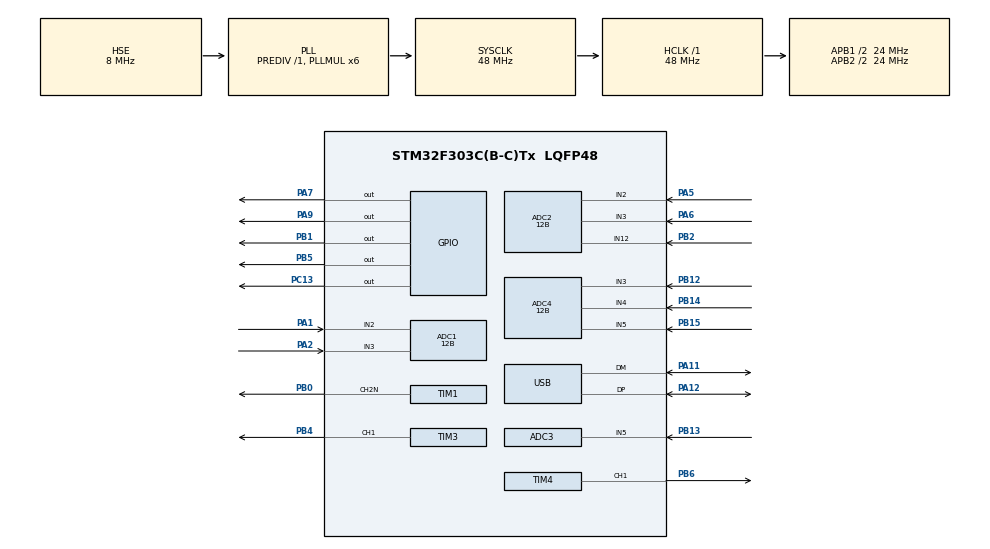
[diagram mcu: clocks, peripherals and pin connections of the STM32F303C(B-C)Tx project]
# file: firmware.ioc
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ADC1.Channel-0\#ChannelRegularConversion=ADC_CHANNEL_2
ADC1.Channel-1\#ChannelRegularConversion=ADC_CHANNEL_3
ADC1.Channel-2\#ChannelRegularConversion=ADC_CHANNEL_VREFINT
ADC1.ClockPrescaler=ADC_CLOCK_ASYNC_DIV1
ADC1.ContinuousConvMode=ENABLE
ADC1.DMAContinuousRequests=DISABLE
ADC1.DataAlign=ADC_DATAALIGN_RIGHT
ADC1.DiscontinuousConvMode=DISABLE
ADC1.EOCSelection=ADC_EOC_SINGLE_CONV
ADC1.EnableAnalogWatchDog1=false
ADC1.EnableAnalogWatchDog2=false
ADC1.EnableAnalogWatchDog3=false
ADC1.EnableInjectedConversion=ENABLE
ADC1.EnableRegularConversion=ENABLE
ADC1.ExternalTrigConv=ADC_SOFTWARE_START
ADC1.ExternalTrigConvEdge=ADC_EXTERNALTRIGCONVEDGE_NONE
ADC1.InjNumberOfConversion=0
ADC1.LowPowerAutoWait=DISABLE
ADC1.Mode=ADC_MODE_INDEPENDENT
ADC1.NbrOfConversion=3
ADC1.Offset-0\#ChannelRegularConversion=0
ADC1.Offset-1\#ChannelRegularConversion=0
ADC1.Offset-2\#ChannelRegularConversion=0
ADC1.OffsetNumber-0\#ChannelRegularConversion=ADC_OFFSET_NONE
ADC1.OffsetNumber-1\#ChannelRegularConversion=ADC_OFFSET_NONE
ADC1.OffsetNumber-2\#ChannelRegularConversion=ADC_OFFSET_NONE
ADC1.Overrun=ADC_OVR_DATA_OVERWRITTEN
ADC1.Rank-0\#ChannelRegularConversion=1
ADC1.Rank-1\#ChannelRegularConversion=2
ADC1.Rank-2\#ChannelRegularConversion=3
ADC1.Resolution=ADC_RESOLUTION_12B
ADC1.SamplingTime-0\#ChannelRegularConversion=ADC_SAMPLETIME_181CYCLES_5
ADC1.SamplingTime-1\#ChannelRegularConversion=ADC_SAMPLETIME_181CYCLES_5
ADC1.SamplingTime-2\#ChannelRegularConversion=ADC_SAMPLETIME_181CYCLES_5
ADC1.SamplingTimeOPAMP=ADC_SAMPLETIME_19CYCLES_5
ADC1.ScanConvMode=ADC_SCAN_ENABLE
ADC1.SequencerNbRanks=1
ADC1.master=1
ADC2.Channel-0\#ChannelRegularConversion=ADC_CHANNEL_2
ADC2.Channel-1\#ChannelRegularConversion=ADC_CHANNEL_3
ADC2.Channel-2\#ChannelRegularConversion=ADC_CHANNEL_12
ADC2.Channel-IN12=ADC_CHANNEL_12
ADC2.Channel-IN2=ADC_CHANNEL_2
ADC2.Channel-IN3=ADC_CHANNEL_3
ADC2.ClockPrescaler=ADC_CLOCK_ASYNC_DIV1
ADC2.ContinuousConvMode=ENABLE
ADC2.DMAContinuousRequests=DISABLE
ADC2.DataAlign=ADC_DATAALIGN_RIGHT
ADC2.DiscontinuousConvMode=DISABLE
ADC2.EOCSelection=ADC_EOC_SINGLE_CONV
ADC2.EnableAnalogWatchDog1=false
ADC2.EnableAnalogWatchDog2=false
ADC2.EnableAnalogWatchDog3=false
ADC2.EnableInjectedConversion=ENABLE
ADC2.EnableRegularConversion=ENABLE
ADC2.ExternalTrigConv=ADC_SOFTWARE_START
ADC2.ExternalTrigConvEdge=ADC_EXTERNALTRIGCONVEDGE_NONE
ADC2.InjNumberOfConversion=0
ADC2.LowPowerAutoWait=DISABLE
ADC2.Mode=ADC_MODE_INDEPENDENT
ADC2.NbrOfConversion=3
ADC2.Offset-0\#ChannelRegularConversion=0
ADC2.Offset-1\#ChannelRegularConversion=0
ADC2.Offset-2\#ChannelRegularConversion=0
ADC2.OffsetNumber-0\#ChannelRegularConversion=ADC_OFFSET_NONE
ADC2.OffsetNumber-1\#ChannelRegularConversion=ADC_OFFSET_NONE
ADC2.OffsetNumber-2\#ChannelRegularConversion=ADC_OFFSET_NONE
ADC2.Overrun=ADC_OVR_DATA_OVERWRITTEN
ADC2.Rank-0\#ChannelRegularConversion=1
ADC2.Rank-1\#ChannelRegularConversion=2
ADC2.Rank-2\#ChannelRegularConversion=3
ADC2.Resolution=ADC_RESOLUTION_12B
ADC2.SamplingTime-0\#ChannelRegularConversion=ADC_SAMPLETIME_181CYCLES_5
ADC2.SamplingTime-1\#ChannelRegularConversion=ADC_SAMPLETIME_181CYCLES_5
ADC2.SamplingTime-2\#ChannelRegularConversion=ADC_SAMPLETIME_181CYCLES_5
ADC2.SamplingTimeOPAMP=ADC_SAMPLETIME_19CYCLES_5
ADC2.ScanConvMode=ADC_SCAN_ENABLE
ADC2.SequencerNbRanks=1
ADC3.Channel-0\#ChannelRegularConversion=ADC_CHANNEL_5
ADC3.Channel-IN5=ADC_CHANNEL_5
ADC3.ClockPrescaler=ADC_CLOCK_ASYNC_DIV1
ADC3.ContinuousConvMode=ENABLE
ADC3.DMAContinuousRequests=DISABLE
ADC3.DataAlign=ADC_DATAALIGN_RIGHT
ADC3.DiscontinuousConvMode=DISABLE
ADC3.EOCSelection=ADC_EOC_SINGLE_CONV
ADC3.EnableAnalogWatchDog1=false
ADC3.EnableAnalogWatchDog2=false
ADC3.EnableAnalogWatchDog3=false
ADC3.EnableInjectedConversion=ENABLE
ADC3.EnableRegularConversion=ENABLE
ADC3.ExternalTrigConv=ADC_SOFTWARE_START
ADC3.ExternalTrigConvEdge=ADC_EXTERNALTRIGCONVEDGE_NONE
ADC3.InjNumberOfConversion=0
ADC3.LowPowerAutoWait=DISABLE
ADC3.Mode=ADC_MODE_INDEPENDENT
ADC3.NbrOfConversion=1
ADC3.Offset-0\#ChannelRegularConversion=0
ADC3.OffsetNumber-0\#ChannelRegularConversion=ADC_OFFSET_NONE
ADC3.Overrun=ADC_OVR_DATA_OVERWRITTEN
ADC3.Rank-0\#ChannelRegularConversion=1
ADC3.Resolution=ADC_RESOLUTION_12B
ADC3.SamplingTime-0\#ChannelRegularConversion=ADC_SAMPLETIME_181CYCLES_5
ADC3.SamplingTimeOPAMP=ADC_SAMPLETIME_19CYCLES_5
ADC3.ScanConvMode=ADC_SCAN_DISABLE
ADC3.SequencerNbRanks=1
ADC3.master=1
ADC4.Channel-0\#ChannelRegularConversion=ADC_CHANNEL_3
ADC4.Channel-3\#ChannelRegularConversion=ADC_CHANNEL_4
ADC4.Channel-4\#ChannelRegularConversion=ADC_CHANNEL_5
ADC4.Channel-IN3=ADC_CHANNEL_3
ADC4.Channel-IN4=ADC_CHANNEL_4
ADC4.Channel-IN5=ADC_CHANNEL_5
ADC4.ClockPrescaler=ADC_CLOCK_ASYNC_DIV1
ADC4.ContinuousConvMode=ENABLE
ADC4.DMAContinuousRequests=DISABLE
ADC4.DataAlign=ADC_DATAALIGN_RIGHT
ADC4.DiscontinuousConvMode=DISABLE
ADC4.EOCSelection=ADC_EOC_SINGLE_CONV
ADC4.EnableAnalogWatchDog1=false
ADC4.EnableAnalogWatchDog2=false
ADC4.EnableAnalogWatchDog3=false
ADC4.EnableInjectedConversion=ENABLE
ADC4.EnableRegularConversion=ENABLE
ADC4.ExternalTrigConv=ADC_SOFTWARE_START
ADC4.ExternalTrigConvEdge=ADC_EXTERNALTRIGCONVEDGE_NONE
ADC4.InjNumberOfConversion=0
ADC4.LowPowerAutoWait=DISABLE
ADC4.Mode=ADC_MODE_INDEPENDENT
ADC4.NbrOfConversion=3
ADC4.Offset-0\#ChannelRegularConversion=0
ADC4.Offset-3\#ChannelRegularConversion=0
ADC4.Offset-4\#ChannelRegularConversion=0
ADC4.OffsetNumber-0\#ChannelRegularConversion=ADC_OFFSET_NONE
ADC4.OffsetNumber-3\#ChannelRegularConversion=ADC_OFFSET_NONE
ADC4.OffsetNumber-4\#ChannelRegularConversion=ADC_OFFSET_NONE
ADC4.Overrun=ADC_OVR_DATA_OVERWRITTEN
ADC4.Rank-0\#ChannelRegularConversion=1
ADC4.Rank-3\#ChannelRegularConversion=2
ADC4.Rank-4\#ChannelRegularConversion=3
ADC4.Resolution=ADC_RESOLUTION_12B
ADC4.SamplingTime-0\#ChannelRegularConversion=ADC_SAMPLETIME_181CYCLES_5
ADC4.SamplingTime-3\#ChannelRegularConversion=ADC_SAMPLETIME_181CYCLES_5
ADC4.SamplingTime-4\#ChannelRegularConversion=ADC_SAMPLETIME_181CYCLES_5
ADC4.SamplingTimeOPAMP=ADC_SAMPLETIME_19CYCLES_5
ADC4.ScanConvMode=ADC_SCAN_ENABLE
ADC4.SequencerNbRanks=1
Mcu.Family=STM32F3
Mcu.Name=STM32F303C(B-C)Tx
Mcu.Package=LQFP48
NVIC.PriorityGroup=NVIC_PRIORITYGROUP_4
NVIC.TIM8_UP_IRQn=true\:0\:0\:false\:false\:true\:true\:true\:true
NVIC.USB_LP_CAN_RX0_IRQn=true\:0\:0\:false\:false\:true\:false\:true\:true
PA1.Mode=IN2-Single-Ended
PA1.Signal=ADC1_IN2
PA11.Mode=Device
PA11.Signal=USB_DM
PA12.Mode=Device
PA12.Signal=USB_DP
PA2.Mode=IN3-Single-Ended
PA2.Signal=ADC1_IN3
PA5.Mode=IN2-Single-Ended
PA5.Signal=ADC2_IN2
PA6.Mode=IN3-Single-Ended
PA6.Signal=ADC2_IN3
PA7.Signal=GPIO_Output
PA9.Signal=GPIO_Output
PB0.Mode=PWM Generation2 CH2N
PB0.Signal=TIM1_CH2N
PB1.Signal=GPIO_Output
PB12.Mode=IN3-Single-Ended
PB12.Signal=ADC4_IN3
PB13.Mode=IN5-Single-Ended
PB13.Signal=ADC3_IN5
PB14.Mode=IN4-Single-Ended
PB14.Signal=ADC4_IN4
PB15.Mode=IN5-Single-Ended
PB15.Signal=ADC4_IN5
PB2.Mode=IN12-Single-Ended
PB2.Signal=ADC2_IN12
PB4.Signal=S_TIM3_CH1
PB5.Signal=GPIO_Output
PB6.Signal=S_TIM4_CH1
PC13.Signal=GPIO_Output
PF0-OSC_IN.Mode=HSE-External-Oscillator
PF0-OSC_IN.Signal=RCC_OSC_IN
PF1-OSC_OUT.Mode=HSE-External-Oscillator
PF1-OSC_OUT.Signal=RCC_OSC_OUT
ProjectManager.HeapSize=0x200
ProjectManager.StackSize=0x400
ProjectManager.TargetToolchain=CMake
RCC.AHBFreq_Value=48000000
RCC.APB1CLKDivider=RCC_HCLK_DIV2
RCC.APB1Freq_Value=24000000
RCC.APB1TimFreq_Value=48000000
RCC.APB2CLKDivider=RCC_HCLK_DIV2
RCC.APB2Freq_Value=24000000
RCC.APB2TimFreq_Value=48000000
RCC.CortexFreq_Value=48000000
RCC.FLatency=FLASH_LATENCY_1
RCC.HCLKFreq_Value=48000000
RCC.HSE_VALUE=8000000
RCC.HSI_VALUE=8000000
RCC.LSE_VALUE=32768
RCC.PLLMUL=RCC_PLL_MUL6
RCC.SYSCLKFreq_VALUE=48000000
RCC.SYSCLKSourceVirtual=RCC_SYSCLKSOURCE_PLLCLK
RCC.USBFreq_Value=48000000
SH.S_TIM3_CH1.0=TIM3_CH1,PWM Generation1 CH1
SH.S_TIM4_CH1.0=TIM4_CH1,PWM Generation1 CH1
TIM1.AutoReloadPreload=TIM_AUTORELOAD_PRELOAD_ENABLE
TIM1.Channel-PWM\ Generation2\ CH2N=TIM_CHANNEL_2
TIM1.Period=10000
TIM1.Pulse-PWM\ Generation2\ CH2N=5000
TIM3.AutoReloadPreload=TIM_AUTORELOAD_PRELOAD_ENABLE
TIM3.Channel-PWM\ Generation1\ CH1=TIM_CHANNEL_1
TIM3.Period=10000
TIM3.Pulse-PWM\ Generation1\ CH1=5000
TIM4.AutoReloadPreload=TIM_AUTORELOAD_PRELOAD_ENABLE
TIM4.Channel-PWM\ Generation1\ CH1=TIM_CHANNEL_1
TIM4.Period=10000
TIM4.Pulse-PWM\ Generation1\ CH1=5000
TIM8.Period=65535
TIM8.Prescaler=7
TIM8.TIM_MasterOutputTrigger=TIM_TRGO_UPDATE
USB.DeviceSpeed=PCD_SPEED_FULL
USB.battery_charging_enable=DISABLE
USB.low_power_enable=DISABLE
USB.phy_itface=PCD_PHY_EMBEDDED
USB_DEVICE.APP_RX_DATA_SIZE=1024
USB_DEVICE.APP_TX_DATA_SIZE=1024
USB_DEVICE.CLASS_NAME_FS=CDC
USB_DEVICE.CONFIGURATION_STRING_CDC_FS=CDC Config
USB_DEVICE.INTERFACE_STRING_CDC_FS=CDC Interface
USB_DEVICE.LANGID_STRING=1033
USB_DEVICE.MANUFACTURER_STRING=STMicroelectronics
USB_DEVICE.PID_CDC_FS=22336
USB_DEVICE.PRODUCT_STRING_CDC_FS=STM32 Virtual ComPort
USB_DEVICE.USBD_DEBUG_LEVEL=3
USB_DEVICE.USBD_MAX_NUM_CONFIGURATION=1
USB_DEVICE.USBD_MAX_NUM_INTERFACES=1
USB_DEVICE.USBD_MAX_STR_DESC_SIZ=512
USB_DEVICE.USBD_SELF_POWERED=1
USB_DEVICE.VID=1155
USB_DEVICE.VirtualMode=Cdc
USB_DEVICE.VirtualModeFS=Cdc_FS
VP_ADC1_Vref_Input.Mode=IN-Vrefint
VP_TIM1_VS_ClockSourceINT.Mode=Internal
VP_TIM3_VS_ClockSourceINT.Mode=Internal
VP_TIM4_VS_ClockSourceINT.Mode=Internal
VP_TIM8_VS_ClockSourceINT.Mode=Internal
VP_USB_DEVICE_VS_USB_DEVICE_CDC_FS.Mode=CDC_FS
board=custom

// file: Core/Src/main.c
/* USER CODE BEGIN Header */
/**
  ******************************************************************************
  * @file           : main.c
  * @brief          : Main program body
  ******************************************************************************
  * @attention
  *
  * Copyright (c) 2025 STMicroelectronics.
  * All rights reserved.
  *
  * This software is licensed under terms that can be found in the LICENSE file
  * in the root directory of this software component.
  * If no LICENSE file comes with this software, it is provided AS-IS.
  *
  ******************************************************************************
  */
/* USER CODE END Header */
#include "main.h"
#include "usb_device.h"

/* USER CODE BEGIN Includes */
#include <stdio.h>
#include <math.h>
#include "adc_read.h"
#include "inverter_control.h"
#include "motor_control.h"
/* USER CODE END Includes */

/* USER CODE BEGIN PD */
extern USBD_HandleTypeDef hUsbDeviceFS;
/* USER CODE END PD */

ADC_HandleTypeDef hadc1;
ADC_HandleTypeDef hadc2;
ADC_HandleTypeDef hadc3;
ADC_HandleTypeDef hadc4;

TIM_HandleTypeDef htim1;
TIM_HandleTypeDef htim3;
TIM_HandleTypeDef htim4;
TIM_HandleTypeDef htim8;

void SystemClock_Config(void);
static void MX_GPIO_Init(void);
static void MX_ADC4_Init(void);
static void MX_ADC1_Init(void);
static void MX_ADC2_Init(void);
static void MX_ADC3_Init(void);
static void MX_TIM8_Init(void);
static void MX_TIM1_Init(void);
static void MX_TIM3_Init(void);
static void MX_TIM4_Init(void);
/* USER CODE BEGIN PFP */

void led_blink(void)
{
      HAL_GPIO_TogglePin(GPIOC, GPIO_PIN_13);
      HAL_Delay(200);
      HAL_GPIO_TogglePin(GPIOC, GPIO_PIN_13);
      HAL_Delay(200);
}
/* USER CODE END PFP */

/* USER CODE BEGIN 0 */
// TRY TO SWITCH A SINGLE PHASE AND SEE WHAT HAPPENS
inverter_t inverter = {0}; //! EXTERN
//! WARNING: make sure to protect this object through locking
volatile motor_control_t cmotor = {0}; //! EXTERN
/* USER CODE END 0 */

int main(void)
{

  /* USER CODE BEGIN 1 */
  // INIT INVERTER
  phase_conf_t phase_u = {
    .sw_gpio_pin = GPIO_PIN_U_SW, .sw_gpio_port = GPIO_PORT_U_SW,
    .nsd_pwm_start = inverter_nsd_pwm_u_start, .nsd_pwm_stop = inverter_nsd_pwm_u_stop, .nsd_pwm_d = inverter_nsd_pwm_u_d
  };
  phase_conf_t phase_v = {
    .sw_gpio_pin = GPIO_PIN_V_SW, .sw_gpio_port = GPIO_PORT_V_SW,
    .nsd_pwm_start = inverter_nsd_pwm_v_start, .nsd_pwm_stop = inverter_nsd_pwm_v_stop, .nsd_pwm_d = inverter_nsd_pwm_v_d
  };
  phase_conf_t phase_w = {
    .sw_gpio_pin = GPIO_PIN_W_SW, .sw_gpio_port = GPIO_PORT_W_SW,
    .nsd_pwm_start = inverter_nsd_pwm_w_start, .nsd_pwm_stop = inverter_nsd_pwm_w_stop, .nsd_pwm_d = inverter_nsd_pwm_w_d
  };

  phase_conf_t* phases[3] = {&phase_u, &phase_v, &phase_w};
  phase_read_t phase_u_data = {0}, phase_v_data = {0}, phase_w_data = {0};
  phase_read_t* phase_data[3] = {&phase_u_data, &phase_v_data, &phase_w_data};

  /* USER CODE END 1 */

  /* MCU Configuration--------------------------------------------------------*/

  /* Reset of all peripherals, Initializes the Flash interface and the Systick. */
  HAL_Init();

  /* Configure the system clock */
  SystemClock_Config();

  /* Initialize all configured peripherals */
  MX_GPIO_Init();
  MX_ADC4_Init();
  MX_USB_DEVICE_Init();
  MX_ADC1_Init();
  MX_ADC2_Init();
  MX_ADC3_Init();
  MX_TIM8_Init();
  MX_TIM1_Init();
  MX_TIM3_Init();
  MX_TIM4_Init();
  /* USER CODE BEGIN 2 */
  HAL_GPIO_WritePin(GPIOA, GPIO_PIN_9, GPIO_PIN_SET); //! USB ENABLE DISCOVERY

  for (int _=0; _<4; _++)
  {
    printf("BLINK,\r\n");
    HAL_Delay(2000);
    // HAL_GPIO_TogglePin(GPIOC, GPIO_PIN_13);
  }

  // *** MOTOR CONTROL INITIALIZATION ***
  printf("Inverter init\r\n");
  // Period is by default 2.5 ms
  if (inverter_init(&inverter, phases, 3))
  {
    printf("INVERTER INIT FAILED\r\n");
    // Error_Handler();
  }

  if (inverter.phases == NULL)
	{
		return -1;
	}
  cmotor.inv = &inverter;
  mcontrol_init(&cmotor, phase_data, 3);

  // *** TIMER INITIALIZATION ***
  HAL_GPIO_WritePin(GPIOA, GPIO_PIN_9, GPIO_PIN_SET);
  HAL_GPIO_WritePin(GPIOC, GPIO_PIN_13, GPIO_PIN_SET);
  /* USER CODE END 2 */

  /* Infinite loop */
  /* USER CODE BEGIN WHILE */
  printf("main\r\n");

  // >>> CALIBRATE ADC's
  HAL_ADCEx_Calibration_Start(&hadc1, ADC_SINGLE_ENDED);
  HAL_ADCEx_Calibration_Start(&hadc2, ADC_SINGLE_ENDED);
  HAL_ADCEx_Calibration_Start(&hadc3, ADC_SINGLE_ENDED);
  HAL_ADCEx_Calibration_Start(&hadc4, ADC_SINGLE_ENDED);
  // <<< CALIBRATE ADC's

  HAL_Delay(1000);
  // START PWM SIGNALS
  // int rpm = 30;
  // printf("Setting rpm: %d", rpm);
  // mcontrol_speed_set(&cmotor, rpm);
  // uint8_t power = 80;
  // mcontrol_power_set(&cmotor, power);
  while (1)
  {
    // HAL_Delay(3000);
    // printf("Setting duty cycle: %u\r\n", power);
    // mcontrol_power_set(&cmotor, power);
    // power += 10;
    // if (power >= 100)
    // {
    //   power = 0;
    // }
    // HAL_Delay(1000);
    main_control(&cmotor);
    /* USER CODE END WHILE */

  }
}

void SystemClock_Config(void)
{
  RCC_OscInitTypeDef RCC_OscInitStruct = {0};
  RCC_ClkInitTypeDef RCC_ClkInitStruct = {0};
  RCC_PeriphCLKInitTypeDef PeriphClkInit = {0};

  /** Initializes the RCC Oscillators according to the specified parameters
  * in the RCC_OscInitTypeDef structure.
  */
  RCC_OscInitStruct.OscillatorType = RCC_OSCILLATORTYPE_HSE;
  RCC_OscInitStruct.HSEState = RCC_HSE_ON;
  RCC_OscInitStruct.HSEPredivValue = RCC_HSE_PREDIV_DIV1;
  RCC_OscInitStruct.HSIState = RCC_HSI_ON;
  RCC_OscInitStruct.PLL.PLLState = RCC_PLL_ON;
  RCC_OscInitStruct.PLL.PLLSource = RCC_PLLSOURCE_HSE;
  RCC_OscInitStruct.PLL.PLLMUL = RCC_PLL_MUL6;
  if (HAL_RCC_OscConfig(&RCC_OscInitStruct) != HAL_OK)
  {
    Error_Handler();
  }

  /** Initializes the CPU, AHB and APB buses clocks
  */
  RCC_ClkInitStruct.ClockType = RCC_CLOCKTYPE_HCLK|RCC_CLOCKTYPE_SYSCLK
                              |RCC_CLOCKTYPE_PCLK1|RCC_CLOCKTYPE_PCLK2;
  RCC_ClkInitStruct.SYSCLKSource = RCC_SYSCLKSOURCE_PLLCLK;
  RCC_ClkInitStruct.AHBCLKDivider = RCC_SYSCLK_DIV1;
  RCC_ClkInitStruct.APB1CLKDivider = RCC_HCLK_DIV2;
  RCC_ClkInitStruct.APB2CLKDivider = RCC_HCLK_DIV2;

  if (HAL_RCC_ClockConfig(&RCC_ClkInitStruct, FLASH_LATENCY_1) != HAL_OK)
  {
    Error_Handler();
  }
  PeriphClkInit.PeriphClockSelection = RCC_PERIPHCLK_USB|RCC_PERIPHCLK_TIM1
                              |RCC_PERIPHCLK_TIM8|RCC_PERIPHCLK_ADC12
                              |RCC_PERIPHCLK_ADC34;
  PeriphClkInit.Adc12ClockSelection = RCC_ADC12PLLCLK_DIV1;
  PeriphClkInit.Adc34ClockSelection = RCC_ADC34PLLCLK_DIV1;
  PeriphClkInit.USBClockSelection = RCC_USBCLKSOURCE_PLL;
  PeriphClkInit.Tim1ClockSelection = RCC_TIM1CLK_HCLK;
  PeriphClkInit.Tim8ClockSelection = RCC_TIM8CLK_HCLK;
  if (HAL_RCCEx_PeriphCLKConfig(&PeriphClkInit) != HAL_OK)
  {
    Error_Handler();
  }
}

static void MX_ADC1_Init(void)
{

  ADC_MultiModeTypeDef multimode = {0};
  ADC_ChannelConfTypeDef sConfig = {0};

  /** Common config
  */
  hadc1.Instance = ADC1;
  hadc1.Init.ClockPrescaler = ADC_CLOCK_ASYNC_DIV1;
  hadc1.Init.Resolution = ADC_RESOLUTION_12B;
  hadc1.Init.ScanConvMode = ADC_SCAN_ENABLE;
  hadc1.Init.ContinuousConvMode = ENABLE;
  hadc1.Init.DiscontinuousConvMode = DISABLE;
  hadc1.Init.ExternalTrigConvEdge = ADC_EXTERNALTRIGCONVEDGE_NONE;
  hadc1.Init.ExternalTrigConv = ADC_SOFTWARE_START;
  hadc1.Init.DataAlign = ADC_DATAALIGN_RIGHT;
  hadc1.Init.NbrOfConversion = 3;
  hadc1.Init.DMAContinuousRequests = DISABLE;
  hadc1.Init.EOCSelection = ADC_EOC_SINGLE_CONV;
  hadc1.Init.LowPowerAutoWait = DISABLE;
  hadc1.Init.Overrun = ADC_OVR_DATA_OVERWRITTEN;
  if (HAL_ADC_Init(&hadc1) != HAL_OK)
  {
    Error_Handler();
  }

  /** Configure the ADC multi-mode
  */
  multimode.Mode = ADC_MODE_INDEPENDENT;
  if (HAL_ADCEx_MultiModeConfigChannel(&hadc1, &multimode) != HAL_OK)
  {
    Error_Handler();
  }

  /** Configure Regular Channel
  */
  sConfig.Channel = ADC_CHANNEL_2;
  sConfig.Rank = ADC_REGULAR_RANK_1;
  sConfig.SingleDiff = ADC_SINGLE_ENDED;
  sConfig.SamplingTime = ADC_SAMPLETIME_181CYCLES_5;
  sConfig.OffsetNumber = ADC_OFFSET_NONE;
  sConfig.Offset = 0;
  if (HAL_ADC_ConfigChannel(&hadc1, &sConfig) != HAL_OK)
  {
    Error_Handler();
  }

  /** Configure Regular Channel
  */
  sConfig.Channel = ADC_CHANNEL_3;
  sConfig.Rank = ADC_REGULAR_RANK_2;
  if (HAL_ADC_ConfigChannel(&hadc1, &sConfig) != HAL_OK)
  {
    Error_Handler();
  }

  /** Configure Regular Channel
  */
  sConfig.Channel = ADC_CHANNEL_VREFINT;
  sConfig.Rank = ADC_REGULAR_RANK_3;
  if (HAL_ADC_ConfigChannel(&hadc1, &sConfig) != HAL_OK)
  {
    Error_Handler();
  }

}

static void MX_ADC2_Init(void)
{

  ADC_ChannelConfTypeDef sConfig = {0};

  /** Common config
  */
  hadc2.Instance = ADC2;
  hadc2.Init.ClockPrescaler = ADC_CLOCK_ASYNC_DIV1;
  hadc2.Init.Resolution = ADC_RESOLUTION_12B;
  hadc2.Init.ScanConvMode = ADC_SCAN_ENABLE;
  hadc2.Init.ContinuousConvMode = ENABLE;
  hadc2.Init.DiscontinuousConvMode = DISABLE;
  hadc2.Init.ExternalTrigConvEdge = ADC_EXTERNALTRIGCONVEDGE_NONE;
  hadc2.Init.ExternalTrigConv = ADC_SOFTWARE_START;
  hadc2.Init.DataAlign = ADC_DATAALIGN_RIGHT;
  hadc2.Init.NbrOfConversion = 3;
  hadc2.Init.DMAContinuousRequests = DISABLE;
  hadc2.Init.EOCSelection = ADC_EOC_SINGLE_CONV;
  hadc2.Init.LowPowerAutoWait = DISABLE;
  hadc2.Init.Overrun = ADC_OVR_DATA_OVERWRITTEN;
  if (HAL_ADC_Init(&hadc2) != HAL_OK)
  {
    Error_Handler();
  }

  /** Configure Regular Channel
  */
  sConfig.Channel = ADC_CHANNEL_2;
  sConfig.Rank = ADC_REGULAR_RANK_1;
  sConfig.SingleDiff = ADC_SINGLE_ENDED;
  sConfig.SamplingTime = ADC_SAMPLETIME_181CYCLES_5;
  sConfig.OffsetNumber = ADC_OFFSET_NONE;
  sConfig.Offset = 0;
  if (HAL_ADC_ConfigChannel(&hadc2, &sConfig) != HAL_OK)
  {
    Error_Handler();
  }

  /** Configure Regular Channel
  */
  sConfig.Channel = ADC_CHANNEL_3;
  sConfig.Rank = ADC_REGULAR_RANK_2;
  if (HAL_ADC_ConfigChannel(&hadc2, &sConfig) != HAL_OK)
  {
    Error_Handler();
  }

  /** Configure Regular Channel
  */
  sConfig.Channel = ADC_CHANNEL_12;
  sConfig.Rank = ADC_REGULAR_RANK_3;
  if (HAL_ADC_ConfigChannel(&hadc2, &sConfig) != HAL_OK)
  {
    Error_Handler();
  }

}

static void MX_ADC3_Init(void)
{

  ADC_MultiModeTypeDef multimode = {0};
  ADC_ChannelConfTypeDef sConfig = {0};

  /** Common config
  */
  hadc3.Instance = ADC3;
  hadc3.Init.ClockPrescaler = ADC_CLOCK_ASYNC_DIV1;
  hadc3.Init.Resolution = ADC_RESOLUTION_12B;
  hadc3.Init.ScanConvMode = ADC_SCAN_DISABLE;
  hadc3.Init.ContinuousConvMode = ENABLE;
  hadc3.Init.DiscontinuousConvMode = DISABLE;
  hadc3.Init.ExternalTrigConvEdge = ADC_EXTERNALTRIGCONVEDGE_NONE;
  hadc3.Init.ExternalTrigConv = ADC_SOFTWARE_START;
  hadc3.Init.DataAlign = ADC_DATAALIGN_RIGHT;
  hadc3.Init.NbrOfConversion = 1;
  hadc3.Init.DMAContinuousRequests = DISABLE;
  hadc3.Init.EOCSelection = ADC_EOC_SINGLE_CONV;
  hadc3.Init.LowPowerAutoWait = DISABLE;
  hadc3.Init.Overrun = ADC_OVR_DATA_OVERWRITTEN;
  if (HAL_ADC_Init(&hadc3) != HAL_OK)
  {
    Error_Handler();
  }

  /** Configure the ADC multi-mode
  */
  multimode.Mode = ADC_MODE_INDEPENDENT;
  if (HAL_ADCEx_MultiModeConfigChannel(&hadc3, &multimode) != HAL_OK)
  {
    Error_Handler();
  }

  /** Configure Regular Channel
  */
  sConfig.Channel = ADC_CHANNEL_5;
  sConfig.Rank = ADC_REGULAR_RANK_1;
  sConfig.SingleDiff = ADC_SINGLE_ENDED;
  sConfig.SamplingTime = ADC_SAMPLETIME_181CYCLES_5;
  sConfig.OffsetNumber = ADC_OFFSET_NONE;
  sConfig.Offset = 0;
  if (HAL_ADC_ConfigChannel(&hadc3, &sConfig) != HAL_OK)
  {
    Error_Handler();
  }

}

static void MX_ADC4_Init(void)
{

  ADC_ChannelConfTypeDef sConfig = {0};

  /** Common config
  */
  hadc4.Instance = ADC4;
  hadc4.Init.ClockPrescaler = ADC_CLOCK_ASYNC_DIV1;
  hadc4.Init.Resolution = ADC_RESOLUTION_12B;
  hadc4.Init.ScanConvMode = ADC_SCAN_ENABLE;
  hadc4.Init.ContinuousConvMode = ENABLE;
  hadc4.Init.DiscontinuousConvMode = DISABLE;
  hadc4.Init.ExternalTrigConvEdge = ADC_EXTERNALTRIGCONVEDGE_NONE;
  hadc4.Init.ExternalTrigConv = ADC_SOFTWARE_START;
  hadc4.Init.DataAlign = ADC_DATAALIGN_RIGHT;
  hadc4.Init.NbrOfConversion = 3;
  hadc4.Init.DMAContinuousRequests = DISABLE;
  hadc4.Init.EOCSelection = ADC_EOC_SINGLE_CONV;
  hadc4.Init.LowPowerAutoWait = DISABLE;
  hadc4.Init.Overrun = ADC_OVR_DATA_OVERWRITTEN;
  if (HAL_ADC_Init(&hadc4) != HAL_OK)
  {
    Error_Handler();
  }

  /** Configure Regular Channel
  */
  sConfig.Channel = ADC_CHANNEL_3;
  sConfig.Rank = ADC_REGULAR_RANK_1;
  sConfig.SingleDiff = ADC_SINGLE_ENDED;
  sConfig.SamplingTime = ADC_SAMPLETIME_181CYCLES_5;
  sConfig.OffsetNumber = ADC_OFFSET_NONE;
  sConfig.Offset = 0;
  if (HAL_ADC_ConfigChannel(&hadc4, &sConfig) != HAL_OK)
  {
    Error_Handler();
  }

  /** Configure Regular Channel
  */
  sConfig.Channel = ADC_CHANNEL_4;
  sConfig.Rank = ADC_REGULAR_RANK_2;
  if (HAL_ADC_ConfigChannel(&hadc4, &sConfig) != HAL_OK)
  {
    Error_Handler();
  }

  /** Configure Regular Channel
  */
  sConfig.Channel = ADC_CHANNEL_5;
  sConfig.Rank = ADC_REGULAR_RANK_3;
  if (HAL_ADC_ConfigChannel(&hadc4, &sConfig) != HAL_OK)
  {
    Error_Handler();
  }

}

static void MX_TIM1_Init(void)
{

  TIM_ClockConfigTypeDef sClockSourceConfig = {0};
  TIM_MasterConfigTypeDef sMasterConfig = {0};
  TIM_OC_InitTypeDef sConfigOC = {0};
  TIM_BreakDeadTimeConfigTypeDef sBreakDeadTimeConfig = {0};

  htim1.Instance = TIM1;
  htim1.Init.Prescaler = 0;
  htim1.Init.CounterMode = TIM_COUNTERMODE_UP;
  htim1.Init.Period = 10000;
  htim1.Init.ClockDivision = TIM_CLOCKDIVISION_DIV1;
  htim1.Init.RepetitionCounter = 0;
  htim1.Init.AutoReloadPreload = TIM_AUTORELOAD_PRELOAD_ENABLE;
  if (HAL_TIM_Base_Init(&htim1) != HAL_OK)
  {
    Error_Handler();
  }
  sClockSourceConfig.ClockSource = TIM_CLOCKSOURCE_INTERNAL;
  if (HAL_TIM_ConfigClockSource(&htim1, &sClockSourceConfig) != HAL_OK)
  {
    Error_Handler();
  }
  if (HAL_TIM_PWM_Init(&htim1) != HAL_OK)
  {
    Error_Handler();
  }
  sMasterConfig.MasterOutputTrigger = TIM_TRGO_RESET;
  sMasterConfig.MasterOutputTrigger2 = TIM_TRGO2_RESET;
  sMasterConfig.MasterSlaveMode = TIM_MASTERSLAVEMODE_DISABLE;
  if (HAL_TIMEx_MasterConfigSynchronization(&htim1, &sMasterConfig) != HAL_OK)
  {
    Error_Handler();
  }
  sConfigOC.OCMode = TIM_OCMODE_PWM1;
  sConfigOC.Pulse = 5000;
  sConfigOC.OCPolarity = TIM_OCPOLARITY_HIGH;
  sConfigOC.OCNPolarity = TIM_OCNPOLARITY_HIGH;
  sConfigOC.OCFastMode = TIM_OCFAST_DISABLE;
  sConfigOC.OCIdleState = TIM_OCIDLESTATE_RESET;
  sConfigOC.OCNIdleState = TIM_OCNIDLESTATE_RESET;
  if (HAL_TIM_PWM_ConfigChannel(&htim1, &sConfigOC, TIM_CHANNEL_2) != HAL_OK)
  {
    Error_Handler();
  }
  sBreakDeadTimeConfig.OffStateRunMode = TIM_OSSR_DISABLE;
  sBreakDeadTimeConfig.OffStateIDLEMode = TIM_OSSI_DISABLE;
  sBreakDeadTimeConfig.LockLevel = TIM_LOCKLEVEL_OFF;
  sBreakDeadTimeConfig.DeadTime = 0;
  sBreakDeadTimeConfig.BreakState = TIM_BREAK_DISABLE;
  sBreakDeadTimeConfig.BreakPolarity = TIM_BREAKPOLARITY_HIGH;
  sBreakDeadTimeConfig.BreakFilter = 0;
  sBreakDeadTimeConfig.Break2State = TIM_BREAK2_DISABLE;
  sBreakDeadTimeConfig.Break2Polarity = TIM_BREAK2POLARITY_HIGH;
  sBreakDeadTimeConfig.Break2Filter = 0;
  sBreakDeadTimeConfig.AutomaticOutput = TIM_AUTOMATICOUTPUT_DISABLE;
  if (HAL_TIMEx_ConfigBreakDeadTime(&htim1, &sBreakDeadTimeConfig) != HAL_OK)
  {
    Error_Handler();
  }
  HAL_TIM_MspPostInit(&htim1);

}

static void MX_TIM3_Init(void)
{

  TIM_ClockConfigTypeDef sClockSourceConfig = {0};
  TIM_MasterConfigTypeDef sMasterConfig = {0};
  TIM_OC_InitTypeDef sConfigOC = {0};

  htim3.Instance = TIM3;
  htim3.Init.Prescaler = 0;
  htim3.Init.CounterMode = TIM_COUNTERMODE_UP;
  htim3.Init.Period = 10000;
  htim3.Init.ClockDivision = TIM_CLOCKDIVISION_DIV1;
  htim3.Init.AutoReloadPreload = TIM_AUTORELOAD_PRELOAD_ENABLE;
  if (HAL_TIM_Base_Init(&htim3) != HAL_OK)
  {
    Error_Handler();
  }
  sClockSourceConfig.ClockSource = TIM_CLOCKSOURCE_INTERNAL;
  if (HAL_TIM_ConfigClockSource(&htim3, &sClockSourceConfig) != HAL_OK)
  {
    Error_Handler();
  }
  if (HAL_TIM_PWM_Init(&htim3) != HAL_OK)
  {
    Error_Handler();
  }
  sMasterConfig.MasterOutputTrigger = TIM_TRGO_RESET;
  sMasterConfig.MasterSlaveMode = TIM_MASTERSLAVEMODE_DISABLE;
  if (HAL_TIMEx_MasterConfigSynchronization(&htim3, &sMasterConfig) != HAL_OK)
  {
    Error_Handler();
  }
  sConfigOC.OCMode = TIM_OCMODE_PWM1;
  sConfigOC.Pulse = 5000;
  sConfigOC.OCPolarity = TIM_OCPOLARITY_HIGH;
  sConfigOC.OCFastMode = TIM_OCFAST_DISABLE;
  if (HAL_TIM_PWM_ConfigChannel(&htim3, &sConfigOC, TIM_CHANNEL_1) != HAL_OK)
  {
    Error_Handler();
  }
  HAL_TIM_MspPostInit(&htim3);

}

static void MX_TIM4_Init(void)
{

  TIM_ClockConfigTypeDef sClockSourceConfig = {0};
  TIM_MasterConfigTypeDef sMasterConfig = {0};
  TIM_OC_InitTypeDef sConfigOC = {0};

  htim4.Instance = TIM4;
  htim4.Init.Prescaler = 0;
  htim4.Init.CounterMode = TIM_COUNTERMODE_UP;
  htim4.Init.Period = 10000;
  htim4.Init.ClockDivision = TIM_CLOCKDIVISION_DIV1;
  htim4.Init.AutoReloadPreload = TIM_AUTORELOAD_PRELOAD_ENABLE;
  if (HAL_TIM_Base_Init(&htim4) != HAL_OK)
  {
    Error_Handler();
  }
  sClockSourceConfig.ClockSource = TIM_CLOCKSOURCE_INTERNAL;
  if (HAL_TIM_ConfigClockSource(&htim4, &sClockSourceConfig) != HAL_OK)
  {
    Error_Handler();
  }
  if (HAL_TIM_PWM_Init(&htim4) != HAL_OK)
  {
    Error_Handler();
  }
  sMasterConfig.MasterOutputTrigger = TIM_TRGO_RESET;
  sMasterConfig.MasterSlaveMode = TIM_MASTERSLAVEMODE_DISABLE;
  if (HAL_TIMEx_MasterConfigSynchronization(&htim4, &sMasterConfig) != HAL_OK)
  {
    Error_Handler();
  }
  sConfigOC.OCMode = TIM_OCMODE_PWM1;
  sConfigOC.Pulse = 5000;
  sConfigOC.OCPolarity = TIM_OCPOLARITY_HIGH;
  sConfigOC.OCFastMode = TIM_OCFAST_DISABLE;
  if (HAL_TIM_PWM_ConfigChannel(&htim4, &sConfigOC, TIM_CHANNEL_1) != HAL_OK)
  {
    Error_Handler();
  }
  HAL_TIM_MspPostInit(&htim4);

}

static void MX_TIM8_Init(void)
{

  TIM_ClockConfigTypeDef sClockSourceConfig = {0};
  TIM_MasterConfigTypeDef sMasterConfig = {0};

  htim8.Instance = TIM8;
  htim8.Init.Prescaler = 7;
  htim8.Init.CounterMode = TIM_COUNTERMODE_UP;
  htim8.Init.Period = 65535;
  htim8.Init.ClockDivision = TIM_CLOCKDIVISION_DIV1;
  htim8.Init.RepetitionCounter = 0;
  htim8.Init.AutoReloadPreload = TIM_AUTORELOAD_PRELOAD_DISABLE;
  if (HAL_TIM_Base_Init(&htim8) != HAL_OK)
  {
    Error_Handler();
  }
  sClockSourceConfig.ClockSource = TIM_CLOCKSOURCE_INTERNAL;
  if (HAL_TIM_ConfigClockSource(&htim8, &sClockSourceConfig) != HAL_OK)
  {
    Error_Handler();
  }
  sMasterConfig.MasterOutputTrigger = TIM_TRGO_UPDATE;
  sMasterConfig.MasterOutputTrigger2 = TIM_TRGO2_RESET;
  sMasterConfig.MasterSlaveMode = TIM_MASTERSLAVEMODE_DISABLE;
  if (HAL_TIMEx_MasterConfigSynchronization(&htim8, &sMasterConfig) != HAL_OK)
  {
    Error_Handler();
  }

}

static void MX_GPIO_Init(void)
{
  GPIO_InitTypeDef GPIO_InitStruct = {0};

  /* GPIO Ports Clock Enable */
  __HAL_RCC_GPIOC_CLK_ENABLE();
  __HAL_RCC_GPIOF_CLK_ENABLE();
  __HAL_RCC_GPIOA_CLK_ENABLE();
  __HAL_RCC_GPIOB_CLK_ENABLE();

  /*Configure GPIO pin Output Level */
  HAL_GPIO_WritePin(GPIOC, GPIO_PIN_13, GPIO_PIN_RESET);

  /*Configure GPIO pin Output Level */
  HAL_GPIO_WritePin(GPIOA, GPIO_PIN_7|GPIO_PIN_9, GPIO_PIN_RESET);

  /*Configure GPIO pin Output Level */
  HAL_GPIO_WritePin(GPIOB, GPIO_PIN_1|GPIO_PIN_5, GPIO_PIN_RESET);

  /*Configure GPIO pin : PC13 */
  GPIO_InitStruct.Pin = GPIO_PIN_13;
  GPIO_InitStruct.Mode = GPIO_MODE_OUTPUT_PP;
  GPIO_InitStruct.Pull = GPIO_NOPULL;
  GPIO_InitStruct.Speed = GPIO_SPEED_FREQ_LOW;
  HAL_GPIO_Init(GPIOC, &GPIO_InitStruct);

  /*Configure GPIO pins : PA7 PA9 */
  GPIO_InitStruct.Pin = GPIO_PIN_7|GPIO_PIN_9;
  GPIO_InitStruct.Mode = GPIO_MODE_OUTPUT_PP;
  GPIO_InitStruct.Pull = GPIO_NOPULL;
  GPIO_InitStruct.Speed = GPIO_SPEED_FREQ_LOW;
  HAL_GPIO_Init(GPIOA, &GPIO_InitStruct);

  /*Configure GPIO pins : PB1 PB5 */
  GPIO_InitStruct.Pin = GPIO_PIN_1|GPIO_PIN_5;
  GPIO_InitStruct.Mode = GPIO_MODE_OUTPUT_PP;
  GPIO_InitStruct.Pull = GPIO_NOPULL;
  GPIO_InitStruct.Speed = GPIO_SPEED_FREQ_LOW;
  HAL_GPIO_Init(GPIOB, &GPIO_InitStruct);

/* USER CODE BEGIN MX_GPIO_Init_2 */
  GPIO_InitStruct.Pin = GPIO_PIN_10;
  GPIO_InitStruct.Mode = GPIO_MODE_INPUT;
  GPIO_InitStruct.Speed = GPIO_SPEED_FREQ_LOW;
  HAL_GPIO_Init(GPIOA, &GPIO_InitStruct);
/* USER CODE END MX_GPIO_Init_2 */
}

void Error_Handler(void)
{
  __disable_irq();
  while (1)
  {
  }
}
